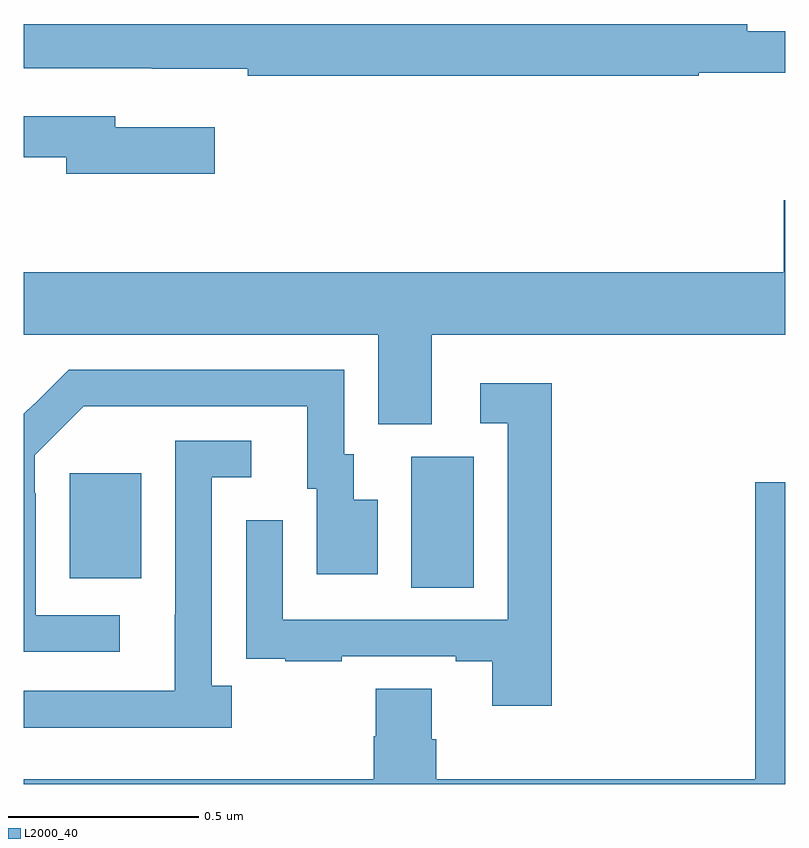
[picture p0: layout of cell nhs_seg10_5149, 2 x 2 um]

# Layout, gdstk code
import gdstk
lib = gdstk.Library(unit=1e-6, precision=1e-09)
def R(c, l, rs):  # rectangles x0, y0, x1, y1
    for r in rs: c.add(gdstk.rectangle(r[:2], r[2:], *l))
def P(c, l, *ps):  # polygons
    for p in ps: c.add(gdstk.Polygon(p, *l))
L2000_40 = (2000, 40)

nhs_seg10_5149 = lib.new_cell('nhs_seg10_5149')
R(nhs_seg10_5149, L2000_40, [(176.018,1269.016,176.182,1269.36), (175.121,1269.041,175.309,1269.316)])
P(nhs_seg10_5149, L2000_40, [(176.773,1270.368),(177,1270.368),(177,1270.477),(176.9,1270.477),(176.9,1270.496),(175,1270.496),(175,1270.38),(175.336,1270.38),(175.336,1270.379),(175.588,1270.379),(175.588,1270.36),(176.773,1270.36)],
  [(175.501,1270.225),(175.24,1270.225),(175.24,1270.254),(175,1270.254),(175,1270.146),(175.112,1270.146),(175.112,1270.103),(175.501,1270.103)],
  [(176.071,1269.68),(177,1269.68),(177,1270.033),(176.996,1270.033),(176.996,1269.844),(175,1269.844),(175,1269.68),(175.931,1269.68),(175.931,1269.445),(176.071,1269.445)],
  [(175.252,1268.943),(175.032,1268.943),(175.032,1269.263),(175.029,1269.263),(175.029,1269.363),(175.158,1269.492),(175.745,1269.492),(175.745,1269.276),(175.769,1269.276),(175.769,1269.051),(175.93,1269.051),(175.93,1269.247),(175.867,1269.247),(175.867,1269.366),(175.842,1269.366),(175.842,1269.588),(175.118,1269.588),(175.027,1269.497),(175.026,1269.498),(175,1269.472),(175,1268.847),(175.252,1268.847)],
  [(176.387,1269.553),(176.199,1269.553),(176.199,1269.447),(176.271,1269.447),(176.271,1268.931),(175.68,1268.931),(175.68,1269.193),(175.584,1269.193),(175.584,1268.938),(175.585,1268.938),(175.585,1268.829),(175.687,1268.829),(175.687,1268.823),(175.835,1268.823),(175.835,1268.835),(176.135,1268.835),(176.135,1268.823),(176.231,1268.823),(176.231,1268.706),(176.387,1268.706)],
  [(175.546,1268.758),(175.494,1268.758),(175.494,1269.306),(175.597,1269.306),(175.597,1269.402),(175.398,1269.402),(175.398,1268.945),(175.397,1268.945),(175.397,1268.745),(175,1268.745),(175,1268.648),(175.546,1268.648)],
  [(177,1269.292),(176.921,1269.292),(176.921,1268.512),(176.084,1268.512),(176.084,1268.618),(176.071,1268.618),(176.071,1268.75),(175.924,1268.75),(175.924,1268.625),(175.919,1268.625),(175.919,1268.512),(175,1268.512),(175,1268.5),(177,1268.5)])

lib.write_gds('nhs_seg10_5149.gds')
